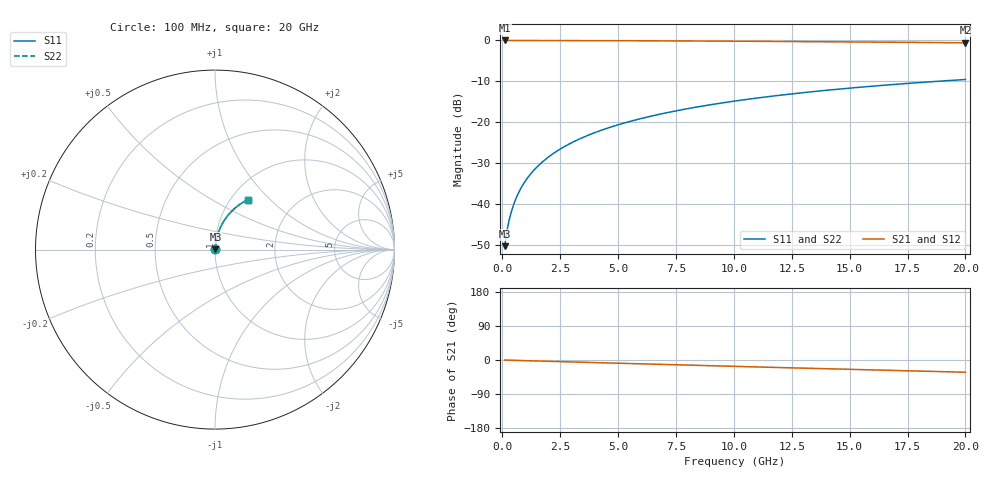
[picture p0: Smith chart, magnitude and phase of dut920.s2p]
! Touchstone file exported from HFSS 2026.1.0
!  File:  C:/ffzhzh/LocalFiles/Ansys_Project_Files/temp_train_BSMRDL_920_1783171746_18472.aedt
!  Generated:  09:30:19 PM Jul  4, 2026
!  Design:  BSMRDL
!  Project:  temp_train_BSMRDL_920_1783171746_18472
! Variables:
!  h_bsmrdl = 3.1um
!  h_ox = 20um
!  h_rdl = 5um
!  h_sub = 80um
!  h_tmrdl = 5um
!  h_tsv = 80um
!  h_via = 3um
!  l_bsmrdl = 419.3um
!  l_sub = 819.3um
!  l_tmrdl = 200um
!  m_sub = 200um
!  pitch = 55.14um
!  r_tsv = 6um
!  s_tmrdl = 10um
!  w_bsmrdl = 22.91um
!  w_sub = 500um
!  w_tmrdl = 12um
!  x_tsv_center1 = 206um
!  x_tsv_center2 = 648.21um
!  x_tsv_center3 = 860.21um
!  x_tsv_center4 = 1302.42um
!  x_tsv_center5 = 1514.42um
!  x_tsv_center6 = 1956.63um
# GHz S MA R 50.000000
! Terminal data exported
! Port[1] = BSM_RDL1_1_T1
! Port[2] = BSM_RDL1_1_T2
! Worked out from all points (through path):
!   200 points, 100 MHz to 20 GHz, reference 50 ohm
!   highest |S21| = -0.02 dB at 100 MHz (marker M1); lowest = -0.6 dB at 20 GHz (marker M2)
!   group delay of S21, straight-line fit = 4.48 ps
!   lowest |S11| = -50.2 dB at 100 MHz (marker M3), VSWR 1.01, Z = 50.2 + j0.205 ohm
!   |S11| at or under -10 dB: start of sweep to 18.74 GHz
!   |S22| runs from -50.2 to -9.5 dB; largest |S21 - S12| = 5e-15
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0.1  0.0031 41.1  0.9977 -0.2  0.9977 -0.2  0.0031 41.1
! Gamma 0 0 0 0
! Port Impedance 50 0 50 0
0.2  0.004715 58.8  0.9976 -0.4  0.9976 -0.4  0.004715 58.8
0.3  0.006507 66.6  0.9975 -0.5  0.9975 -0.5  0.006507 66.6
0.4  0.008331 70.9  0.9973 -0.7  0.9973 -0.7  0.008331 70.9
0.5  0.01016 73.7  0.9972 -0.9  0.9972 -0.9  0.01016 73.7
0.6  0.01199 75.6  0.9972 -1.0  0.9972 -1.0  0.01199 75.6
0.8  0.01567 78.1  0.997 -1.4  0.997 -1.4  0.01567 78.1
1.1  0.02122 80.1  0.9968 -1.9  0.9968 -1.9  0.02122 80.1
1.5  0.02866 81.3  0.9966 -2.6  0.9966 -2.6  0.02866 81.3
1.8  0.03426 81.7  0.9963 -3.1  0.9963 -3.1  0.03426 81.7
2.1  0.03986 81.9  0.9961 -3.6  0.9961 -3.6  0.03986 81.9
2.7  0.05105 81.7  0.9954 -4.6  0.9954 -4.6  0.05105 81.7
3.5  0.06591 81.0  0.9943 -6.0  0.9943 -6.0  0.06591 81.0
4.2  0.07884 80.1  0.9932 -7.2  0.9932 -7.2  0.07884 80.1
5  0.09349 79.1  0.9916 -8.5  0.9916 -8.5  0.09349 79.1
5.9  0.1098 77.7  0.9896 -10.0  0.9896 -10.0  0.1098 77.7
6.8  0.1259 76.4  0.9874 -11.5  0.9874 -11.5  0.1259 76.4
8.3  0.1523 74.1  0.9831 -14.0  0.9831 -14.0  0.1523 74.1
10.1  0.1831 71.3  0.9773 -16.9  0.9773 -16.9  0.1831 71.3
13.4  0.237 66.2  0.9647 -22.2  0.9647 -22.2  0.237 66.2
16.7  0.2872 61.2  0.9504 -27.3  0.9504 -27.3  0.2872 61.2
20  0.3334 56.4  0.9347 -32.2  0.9347 -32.2  0.3334 56.4
